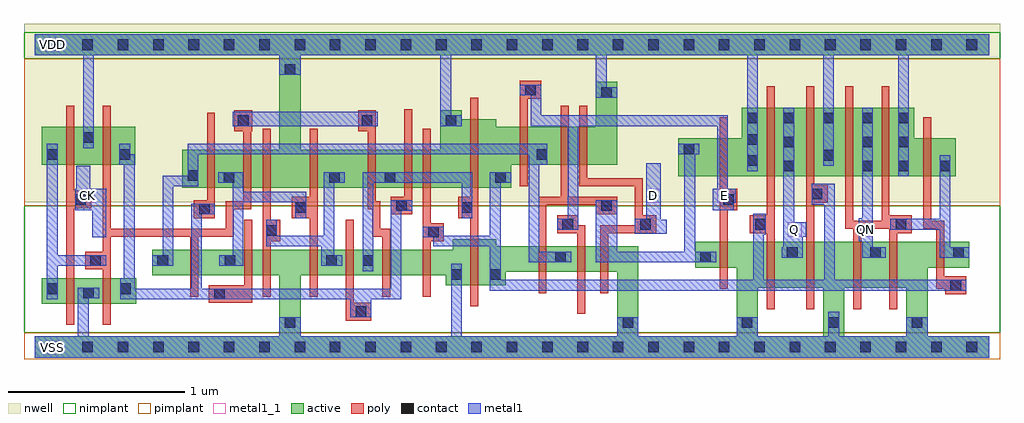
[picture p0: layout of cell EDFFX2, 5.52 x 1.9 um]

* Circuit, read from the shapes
.subckt EDFFX2 CK D E Q QN VDD VSS
M1 VSS CK n1 VSS nfet w=0.145u l=0.045u
M2 n2 n1 VSS VSS nfet w=0.145u l=0.045u
M3 n3 n1 n4 VSS nfet w=0.145u l=0.045u
M4 n5 n2 n3 VSS nfet w=0.145u l=0.045u
M5 VSS n6 n5 VSS nfet w=0.145u l=0.045u
M6 n6 n3 VSS VSS nfet w=0.145u l=0.045u
M7 n7 n2 n6 VSS nfet w=0.145u l=0.045u
M8 n8 n1 n7 VSS nfet w=0.145u l=0.045u
M9 VSS n9 n8 VSS nfet w=0.145u l=0.045u
M10 n9 n7 VSS VSS nfet w=0.26u l=0.045u
M11 n4 n10 n9 VSS nfet w=0.145u l=0.045u
M12 n11 E n4 VSS nfet w=0.145u l=0.045u
M13 VSS D n11 VSS nfet w=0.145u l=0.045u
M14 VSS E n10 VSS nfet w=0.145u l=0.045u
M15 Q n9 VSS VSS nfet w=0.26u l=0.045u m=2
M16 QN n12 VSS VSS nfet w=0.26u l=0.045u m=2
M17 n12 n9 VSS VSS nfet w=0.145u l=0.045u
M18 VDD CK n1 VDD pfet w=0.215u l=0.045u
M19 n2 n1 VDD VDD pfet w=0.215u l=0.045u
M20 n3 n2 n4 VDD pfet w=0.215u l=0.045u
M21 n13 n1 n3 VDD pfet w=0.215u l=0.045u
M22 VDD n6 n13 VDD pfet w=0.215u l=0.045u
M23 n6 n3 VDD VDD pfet w=0.215u l=0.045u
M24 n7 n1 n6 VDD pfet w=0.215u l=0.045u
M25 n14 n2 n7 VDD pfet w=0.215u l=0.045u
M26 VDD n9 n14 VDD pfet w=0.215u l=0.045u
M27 n9 n7 VDD VDD pfet w=0.39u l=0.045u
M28 n4 E n9 VDD pfet w=0.215u l=0.045u
M29 n15 n10 n4 VDD pfet w=0.215u l=0.045u
M30 VDD D n15 VDD pfet w=0.215u l=0.045u
M31 VDD E n10 VDD pfet w=0.215u l=0.045u
M32 Q n9 VDD VDD pfet w=0.39u l=0.045u m=2
M33 QN n12 VDD VDD pfet w=0.39u l=0.045u m=2
M34 n12 n9 VDD VDD pfet w=0.215u l=0.045u
.ends

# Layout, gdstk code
import gdstk
lib = gdstk.Library(unit=1e-6, precision=5e-10)
def R(c, l, rs):  # rectangles x0, y0, x1, y1
    for r in rs: c.add(gdstk.rectangle(r[:2], r[2:], *l))
def A(c, l, x, y, w, h, nx, ny, dx, dy):  # array of equal rectangles
    R(c, l, [(x+i*dx, y+j*dy, x+i*dx+w, y+j*dy+h) for i in range(nx) for j in range(ny)])
def P(c, l, *ps):  # polygons
    for p in ps: c.add(gdstk.Polygon(p, *l))
active = (1, 0)
nwell = (2, 0)
poly = (3, 0)
nimplant = (4, 0)
pimplant = (5, 0)
contact = (6, 0)
metal1 = (7, 0)
metal1_1 = (7, 1)

edffx2 = lib.new_cell('EDFFX2')
R(edffx2, active, [(0.04,0.245,0.575,0.39), (0.04,1.03,0.57,1.245)])
P(edffx2, active, [(0,1.77),(5.4,1.77),(5.4,1.65),(1.505,1.65),(1.505,1.115),(2.295,1.115),(2.295,1.34),(2.415,1.34),(2.415,1.29),(2.61,1.29),(2.61,1.245),(3.175,1.245),(3.175,1.5),(3.295,1.5),(3.295,1.03),(2.695,1.03),(2.695,0.9),(0.835,0.9),(0.835,1.115),(1.385,1.115),(1.385,1.65),(0,1.65)],
  [(4,1.355),(4.975,1.355),(4.975,1.18),(5.21,1.18),(5.21,0.965),(3.64,0.965),(3.64,1.18),(4,1.18)],
  [(2.365,0.61),(2.61,0.61),(2.61,0.57),(3.415,0.57),(3.415,0.06),(3.97,0.06),(3.97,0.335),(4.09,0.335),(4.09,0.06),(4.46,0.06),(4.46,0.335),(4.58,0.335),(4.58,0.06),(4.93,0.06),(4.93,0.335),(3.97,0.335),(3.97,0.45),(3.735,0.45),(3.735,0.595),(5.285,0.595),(5.285,0.45),(5.05,0.45),(5.05,0.06),(5.4,0.06),(5.4,-0.06),(0,-0.06),(0,0.06),(1.385,0.06),(1.385,0.405),(0.665,0.405),(0.665,0.425),(2.665,0.425),(2.665,0.35),(2.325,0.35),(2.325,0.405),(1.505,0.405),(1.505,0.06),(3.295,0.06),(3.295,0.425),(0.665,0.425),(0.665,0.55),(2.365,0.55)])
R(edffx2, nwell, [(-0.06,0.82,5.46,1.83)])
P(edffx2, poly, [(0.385,1.365),(0.43,1.365),(0.43,0.67),(1.08,0.67),(1.08,0.825),(1.18,0.825),(1.18,1.22),(1.13,1.22),(1.13,1.34),(1.23,1.34),(1.23,1.22),(1.225,1.22),(1.225,0.78),(1.125,0.78),(1.125,0.625),(0.925,0.625),(0.925,0.285),(0.88,0.285),(0.88,0.625),(0.43,0.625),(0.43,0.125),(0.385,0.125),(0.385,0.44),(0.285,0.44),(0.285,0.54),(0.385,0.54)],
  [(0.18,1.365),(0.225,1.365),(0.225,0.885),(0.32,0.885),(0.32,0.785),(0.225,0.785),(0.225,0.125),(0.18,0.125)],
  [(0.975,1.325),(1.02,1.325),(1.02,0.73),(0.9,0.73),(0.9,0.83),(0.975,0.83)],
  [(1.29,1.235),(1.335,1.235),(1.335,0.72),(1.39,0.72),(1.39,0.6),(1.335,0.6),(1.335,0.285),(1.29,0.285)],
  [(1.83,1.34),(1.93,1.34),(1.93,0.825),(1.955,0.825),(1.955,0.67),(2.01,0.67),(2.01,0.285),(1.965,0.285),(1.965,0.625),(1.91,0.625),(1.91,0.78),(1.885,0.78),(1.885,1.22),(1.83,1.22)],
  [(1.555,1.235),(1.6,1.235),(1.6,0.285),(1.555,0.285),(1.555,0.73),(1.455,0.73),(1.455,0.85),(1.555,0.85)],
  [(2.09,1.345),(2.135,1.345),(2.135,0.75),(2.015,0.75),(2.015,0.85),(2.09,0.85)],
  [(2.195,1.235),(2.24,1.235),(2.24,0.7),(2.315,0.7),(2.315,0.6),(2.24,0.6),(2.24,0.285),(2.195,0.285)],
  [(2.465,1.41),(2.51,1.41),(2.51,0.23),(2.465,0.23),(2.465,0.73),(2.395,0.73),(2.395,0.85),(2.465,0.85)],
  [(2.745,1.505),(2.865,1.505),(2.865,1.405),(2.79,1.405),(2.79,0.91),(2.745,0.91)],
  [(2.975,1.365),(3.02,1.365),(3.02,0.85),(3.295,0.85),(3.295,0.75),(3.175,0.75),(3.175,0.805),(2.895,0.805),(2.895,0.305),(2.85,0.305),(2.85,0.85),(2.975,0.85)],
  [(3.08,1.365),(3.125,1.365),(3.125,0.955),(3.44,0.955),(3.44,0.745),(3.515,0.745),(3.515,0.645),(3.245,0.645),(3.245,0.305),(3.2,0.305),(3.2,0.69),(3.395,0.69),(3.395,0.91),(3.08,0.91)],
  [(4.14,1.475),(4.185,1.475),(4.185,0.215),(4.14,0.215),(4.14,0.645),(4.045,0.645),(4.045,0.745),(4.14,0.745)],
  [(4.365,1.475),(4.41,1.475),(4.41,0.915),(4.485,0.915),(4.485,0.815),(4.41,0.815),(4.41,0.215),(4.365,0.215)],
  [(4.585,1.475),(4.63,1.475),(4.63,0.715),(4.79,0.715),(4.79,1.475),(4.835,1.475),(4.835,0.745),(4.96,0.745),(4.96,0.645),(4.88,0.645),(4.88,0.215),(4.835,0.215),(4.835,0.67),(4.675,0.67),(4.675,0.215),(4.63,0.215),(4.63,0.67),(4.585,0.67)],
  [(3.875,1.3),(3.92,1.3),(3.92,0.895),(3.975,0.895),(3.975,0.775),(3.92,0.775),(3.92,0.33),(3.875,0.33)],
  [(5.025,1.3),(5.07,1.3),(5.07,0.715),(5.145,0.715),(5.145,0.4),(5.27,0.4),(5.27,0.3),(5.15,0.3),(5.15,0.33),(5.1,0.33),(5.1,0.67),(5.025,0.67)],
  [(1.185,0.72),(1.23,0.72),(1.23,0.25),(0.985,0.25),(0.985,0.35),(1.185,0.35)],
  [(1.76,0.72),(1.805,0.72),(1.805,0.25),(1.905,0.25),(1.905,0.15),(1.76,0.15)],
  [(2.955,0.745),(3.075,0.745),(3.075,0.69),(3.115,0.69),(3.115,0.19),(3.07,0.19),(3.07,0.645),(2.955,0.645)])
R(edffx2, nimplant, [(-0.06,0.08,5.46,0.8), (-0.06,1.63,5.46,1.78)])
R(edffx2, pimplant, [(-0.06,-0.07,5.46,0.08), (-0.06,0.8,5.46,1.63)])
A(edffx2, contact, 0.07, -0.03, 0.06, 0.06, 27, 2, 0.2, 1.71)
A(edffx2, contact, 0.315, 0.46, 0.06, 0.06, 3, 1, 0.38, 0)
A(edffx2, contact, 4.255, 0.505, 0.06, 0.06, 3, 1, 0.47, 0)
A(edffx2, contact, 4.235, 0.995, 0.06, 0.06, 1, 3, 0, 0.135)
A(edffx2, contact, 4.68, 0.995, 0.06, 0.06, 1, 3, 0, 0.135)
A(edffx2, contact, 4.885, 0.995, 0.06, 0.06, 1, 3, 0, 0.135)
A(edffx2, contact, 4.03, 1.025, 0.06, 0.06, 1, 3, 0, 0.12)
R(edffx2, contact, [(1.415,0.11,1.475,0.17), (3.325,0.11,3.385,0.17), (4,0.11,4.06,0.17), (4.49,0.11,4.55,0.17), (4.96,0.11,5.02,0.17), (1.815,0.17,1.875,0.23), (1.015,0.27,1.075,0.33), (0.275,0.275,0.335,0.335), (0.07,0.3,0.13,0.36), (0.485,0.3,0.545,0.36), (5.18,0.32,5.24,0.38), (2.355,0.38,2.415,0.44), (2.575,0.38,2.635,0.44), (1.65,0.46,1.71,0.52), (1.855,0.46,1.915,0.52), (2.945,0.48,3.005,0.54), (3.765,0.48,3.825,0.54), (2.225,0.62,2.285,0.68), (1.31,0.63,1.37,0.69), (2.985,0.665,3.045,0.725), (3.425,0.665,3.485,0.725), (4.075,0.665,4.135,0.725), (4.87,0.665,4.93,0.725), (0.93,0.75,0.99,0.81), (1.475,0.76,1.535,0.82), (2.415,0.76,2.475,0.82), (2.045,0.77,2.105,0.83), (3.205,0.77,3.265,0.83), (0.23,0.805,0.29,0.865), (3.895,0.805,3.955,0.865), (4.395,0.835,4.455,0.895), (1.07,0.93,1.13,0.99), (1.665,0.93,1.725,0.99), (1.98,0.93,2.04,0.99), (2.605,0.93,2.665,0.99), (0.865,0.94,0.925,1), (5.12,0.995,5.18,1.055), (4.46,1.055,4.52,1.115), (0.07,1.06,0.13,1.12), (0.48,1.06,0.54,1.12), (2.84,1.06,2.9,1.12), (3.67,1.09,3.73,1.15), (0.275,1.155,0.335,1.215), (1.15,1.25,1.21,1.31), (1.85,1.25,1.91,1.31), (2.325,1.25,2.385,1.31), (4.46,1.265,4.52,1.325), (3.205,1.41,3.265,1.47), (2.775,1.425,2.835,1.485), (1.415,1.54,1.475,1.6)])
R(edffx2, metal1, [(1.12,1.25,1.94,1.33)])
P(edffx2, metal1, [(0,1.77),(5.4,1.77),(5.4,1.65),(4.945,1.65),(4.945,0.965),(4.885,0.965),(4.885,1.65),(4.52,1.65),(4.52,1.025),(4.46,1.025),(4.46,1.65),(4.09,1.65),(4.09,0.995),(4.03,0.995),(4.03,1.65),(3.235,1.65),(3.235,1.47),(3.295,1.47),(3.295,1.41),(3.175,1.41),(3.175,1.65),(2.355,1.65),(2.355,1.31),(2.415,1.31),(2.415,1.25),(2.295,1.25),(2.295,1.65),(1.505,1.65),(1.505,1.54),(1.385,1.54),(1.385,1.65),(0.335,1.65),(0.335,1.125),(0.275,1.125),(0.275,1.65),(0,1.65)],
  [(2.745,1.485),(2.865,1.485),(2.865,1.31),(3.92,1.31),(3.92,0.895),(3.965,0.895),(3.965,0.815),(3.955,0.815),(3.955,0.775),(3.835,0.775),(3.835,0.895),(3.86,0.895),(3.86,1.25),(3.075,1.25),(3.075,0.665),(2.955,0.665),(2.955,0.725),(3.015,0.725),(3.015,1.25),(2.805,1.25),(2.805,1.425),(2.745,1.425)],
  [(0.07,1.15),(0.13,1.15),(0.13,0.52),(0.405,0.52),(0.405,0.46),(0.13,0.46),(0.13,0.27),(0.07,0.27)],
  [(0.865,1.15),(2.9,1.15),(2.9,1.03),(2.855,1.03),(2.855,0.54),(3.035,0.54),(3.035,0.48),(2.795,0.48),(2.795,1.09),(0.925,1.09),(0.925,0.91),(0.785,0.91),(0.785,0.46),(0.665,0.46),(0.665,0.52),(0.725,0.52),(0.725,0.97),(0.865,0.97)],
  [(0.48,1.15),(0.54,1.15),(0.54,1.09),(0.565,1.09),(0.565,0.33),(0.885,0.33),(0.885,0.81),(1.02,0.81),(1.02,0.75),(0.945,0.75),(0.945,0.33),(2.015,0.33),(2.015,0.83),(2.135,0.83),(2.135,0.77),(2.075,0.77),(2.075,0.27),(1.905,0.27),(1.905,0.17),(1.785,0.17),(1.785,0.27),(0.485,0.27),(0.485,0.39),(0.505,0.39),(0.505,1.03),(0.48,1.03)],
  [(0.235,1.025),(0.315,1.025),(0.315,0.895),(0.405,0.895),(0.405,0.62),(0.325,0.62),(0.325,0.775),(0.23,0.775),(0.23,0.895),(0.235,0.895)],
  [(1.04,0.99),(1.18,0.99),(1.18,0.88),(1.535,0.88),(1.535,0.73),(1.475,0.73),(1.475,0.82),(1.18,0.82),(1.18,0.46),(1.045,0.46),(1.045,0.52),(1.12,0.52),(1.12,0.93),(1.04,0.93)],
  [(1.635,0.99),(1.755,0.99),(1.755,0.93),(1.695,0.93),(1.695,0.52),(1.74,0.52),(1.74,0.46),(1.62,0.46),(1.62,0.57),(1.31,0.57),(1.31,0.72),(1.37,0.72),(1.37,0.63),(1.635,0.63)],
  [(1.855,0.99),(2.475,0.99),(2.475,0.73),(2.415,0.73),(2.415,0.93),(1.915,0.93),(1.915,0.43),(1.855,0.43)],
  [(0.245,0.335),(0.365,0.335),(0.365,0.275),(0.305,0.275),(0.305,0.06),(1.385,0.06),(1.385,0.17),(1.505,0.17),(1.505,0.06),(2.355,0.06),(2.355,0.47),(2.415,0.47),(2.415,0.06),(3.295,0.06),(3.295,0.17),(3.415,0.17),(3.415,0.06),(3.97,0.06),(3.97,0.17),(4.09,0.17),(4.09,0.06),(4.49,0.06),(4.49,0.2),(4.55,0.2),(4.55,0.06),(4.93,0.06),(4.93,0.17),(5.05,0.17),(5.05,0.06),(5.4,0.06),(5.4,-0.06),(0,-0.06),(0,0.06),(0.245,0.06)],
  [(2.575,0.99),(2.695,0.99),(2.695,0.93),(2.635,0.93),(2.635,0.38),(4.065,0.38),(4.065,0.755),(4.135,0.755),(4.135,0.635),(4.125,0.635),(4.125,0.38),(4.465,0.38),(4.465,0.805),(4.395,0.805),(4.395,0.925),(4.525,0.925),(4.525,0.38),(5.27,0.38),(5.27,0.32),(2.575,0.32),(2.575,0.57),(2.255,0.57),(2.255,0.62),(2.195,0.62),(2.195,0.68),(2.315,0.68),(2.315,0.63),(2.575,0.63)],
  [(3.64,1.15),(3.76,1.15),(3.76,1.09),(3.735,1.09),(3.735,0.54),(3.855,0.54),(3.855,0.48),(3.175,0.48),(3.175,0.83),(3.295,0.83),(3.295,0.54),(3.675,0.54),(3.675,1.09),(3.64,1.09)],
  [(3.46,1.04),(3.54,1.04),(3.54,0.72),(3.575,0.72),(3.575,0.64),(3.395,0.64),(3.395,0.725),(3.46,0.725)],
  [(4.235,1.355),(4.295,1.355),(4.295,0.705),(4.365,0.705),(4.365,0.625),(4.345,0.625),(4.345,0.505),(4.225,0.505),(4.225,0.565),(4.235,0.565)],
  [(4.68,1.355),(4.74,1.355),(4.74,0.565),(4.815,0.565),(4.815,0.505),(4.68,0.505),(4.68,0.6),(4.66,0.6),(4.66,0.73),(4.68,0.73)],
  [(5.12,1.085),(5.18,1.085),(5.18,0.565),(5.285,0.565),(5.285,0.505),(5.12,0.505),(5.12,0.665),(4.84,0.665),(4.84,0.725),(5.12,0.725)])
R(edffx2, metal1_1, [(0.06,-0.04,0.14,0.04), (4.26,0.625,4.34,0.705), (4.66,0.625,4.74,0.705), (0.26,0.815,0.34,0.895), (3.46,0.815,3.54,0.895), (3.86,0.815,3.94,0.895), (0.06,1.67,0.14,1.75)])
edffx2.add(gdstk.Label('QN', (4.7,0.665), layer=7, texttype=1))
edffx2.add(gdstk.Label('Q', (4.3,0.665), layer=7, texttype=1))
edffx2.add(gdstk.Label('E', (3.9,0.855), layer=7, texttype=1))
edffx2.add(gdstk.Label('D', (3.5,0.855), layer=7, texttype=1))
edffx2.add(gdstk.Label('CK', (0.3,0.855), layer=7, texttype=1))
edffx2.add(gdstk.Label('VDD', (0.1,1.71), layer=7, texttype=1))
edffx2.add(gdstk.Label('VSS', (0.1,0), layer=7, texttype=1))
edffx2.add(gdstk.Label('EDFFX2', (0,0), layer=63, texttype=0))

lib.write_gds('EDFFX2.gds')
